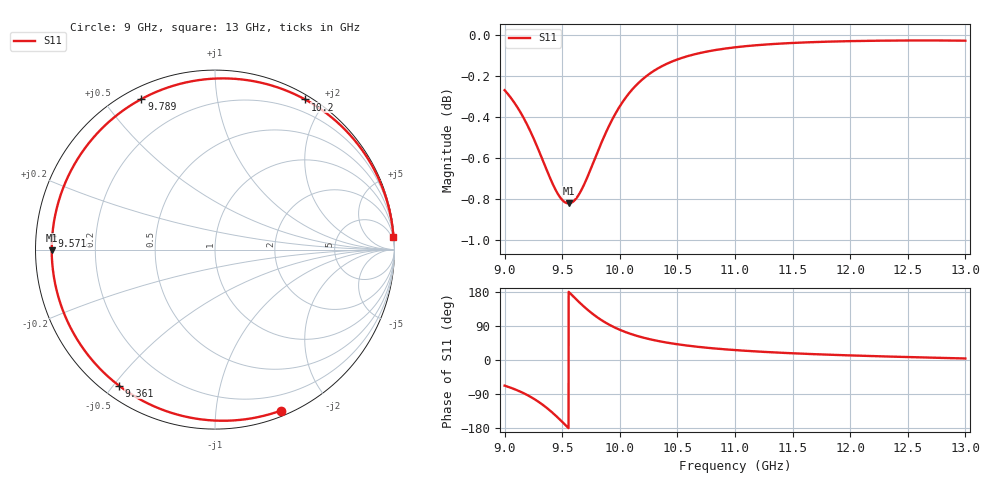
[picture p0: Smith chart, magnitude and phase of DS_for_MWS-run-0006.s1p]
! TOUCHSTONE file generated by CST DESIGN STUDIO
! Date and time: Tue Feb  4 14:04:18 2025
! Project name: C:\Work\MatlabApps\UnitCellOptimizationMatlab\CST\unitcell.cst
! Tree item: Tasks\Sweep1\SPara1\S-Parameters
! Header version: 2024
! Port assignment regex: !\s*Touchstone port\s*([0-9]+)\s*=\s*(CST MWS port|CST DES external port|CST DES block port)\s*(.+)\s* \(\"(.*)\"\)(\s*mode\s*([0-9]+))?.*
! Touchstone port assignment:
! Touchstone port 1 = CST DES external port 1 ("")
# GHz S MA R 50
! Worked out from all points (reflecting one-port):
!   4001 points, 9 GHz to 13 GHz, reference 50 ohm
!   lowest |S11| = -0.8 dB at 9.555 GHz (marker M1), VSWR 21.19, Z = 2.36 - j0.0839 ohm
!   phase of S11 starts at -68 deg and turns -288 deg over the sweep
!   S11 on the Smith chart (normalised r, x): 9 GHz: 0.05, -1.49; 9.361 GHz: 0.05, -0.52; 9.571 GHz: 0.05, +0.04; 9.789 GHz: 0.05, +0.62; 10.2 GHz: 0.05, +1.77; 13 GHz: 1, +29
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9  0.9694 -67.7
9.039  0.9665 -71.6
9.104  0.9608 -79.2
9.215  0.9484 -95.5
9.292  0.9379 -109.8
9.361  0.9277 -125.2
9.428  0.9185 -142.5
9.5  0.9116 -163.1
9.555  0.9099 -179.8
9.571  0.91 175.3
9.626  0.9128 158.7
9.687  0.9191 141.4
9.738  0.9262 128.1
9.789  0.9337 116.1
9.834  0.9404 106.6
9.883  0.9472 97.4
9.937  0.9539 88.6
10  0.9607 79.7
10.097  0.969 68.6
10.204  0.9757 59.0
10.34  0.9816 49.7
10.5  0.9862 41.5
10.721  0.9901 33.4
11  0.9929 26.2
11.5  0.9954 17.7
12  0.9964 12.1
12.5  0.9967 7.8
13  0.9966 4.0
